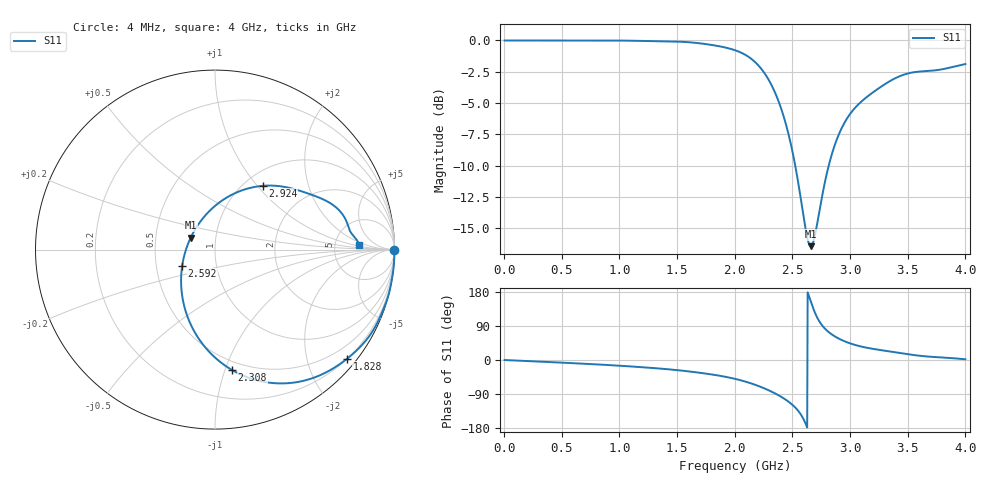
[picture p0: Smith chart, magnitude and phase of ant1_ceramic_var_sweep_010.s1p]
! TOUCHSTONE file generated by CST MICROWAVE STUDIO
! Date and time: Fri May  6 09:22:51 2022
! Project name: ant1_ceramic_sweep_10porcent.cst
! Parameters = {e=0.035; h=1.6; i=0.8; l1=0.5; l2=15.3; ls=80; wl=1.7; ws=30}
! Header version: 2018
! Port assignment regex: !\s*Touchstone port\s*([0-9]+)\s*=\s*(CST MWS port|CST DS port)\s*([0-9]+|Zmin|Zmax)\s*\(\"(.*)\"\)(\s*mode\s*([0-9]+))?.*
! Touchstone port assignment:
! Touchstone port 1 = CST MWS port 1 ("")
# GHz S DB R 50
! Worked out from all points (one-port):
!   1000 points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, 4 MHz to 4 GHz, reference 50 ohm
!   lowest |S11| = -16.4 dB at 2.66 GHz (marker M1), VSWR 1.36, Z = 37.8 + j5.09 ohm
!   |S11| at or under -10 dB: 2.524 GHz to 2.815 GHz (290.3 MHz wide, 10.9 % of centre)
!   S11 on the Smith chart (normalised r, x): 4 MHz: open; 1.828 GHz: 0.20, -2.78; 2.308 GHz: 0.43, -1.06; 2.592 GHz: 0.68, -0.13; 2.924 GHz: 1.21, +1.07; 4 GHz: 9.04, +1.32
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0.004  -0.00 -0.1
0.504  -0.00 -7.0
1.004  -0.01 -15.1
1.504  -0.09 -26.8
1.672  -0.20 -32.7
1.828  -0.40 -39.5
2.004  -0.79 -49.9
2.088  -1.13 -56.6
2.176  -1.73 -65.3
2.244  -2.43 -73.3
2.308  -3.38 -81.9
2.4  -5.38 -96.7
2.452  -6.98 -106.8
2.504  -9.04 -119.4
2.592  -13.80 -153.6
2.632  -15.89 178.6
2.66  -16.43 154.1
2.696  -15.53 124.3
2.788  -11.05 80.9
2.852  -8.78 65.3
2.924  -7.06 53.2
3.004  -5.82 43.5
3.092  -4.93 35.8
3.208  -4.08 28.9
3.384  -3.05 20.6
3.504  -2.63 15.1
3.664  -2.44 9.4
4  -1.89 1.8
